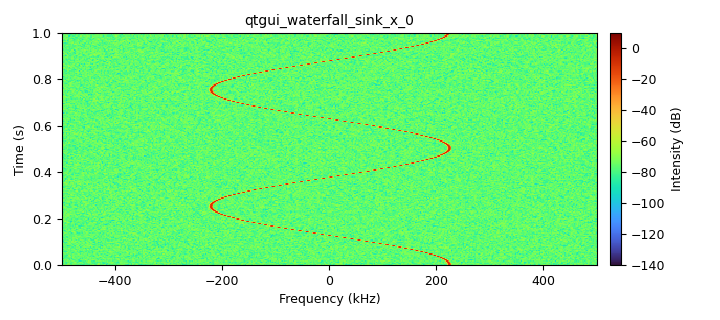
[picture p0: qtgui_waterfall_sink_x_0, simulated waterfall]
options:
  parameters:
    author: J. A. Gilbert
    copyright: J. A. Gilbert
    description: Simple sink examples of using SigMF with GNU Radio
    generate_options: qt_gui
    id: basic_sigmf_gnuradio
    output_language: python
    title: SigMF Examples with GNU Radio
  states: {}

blocks:
- name: freq
  id: variable
  parameters:
    value: 1e9
  states: {}
- name: samp_rate
  id: variable
  parameters:
    value: 1e6
  states: {}
- name: analog_frequency_modulator_fc_0
  id: analog_frequency_modulator_fc
  parameters:
    sensitivity: '1.4'
  states: {}
- name: analog_noise_source_x_0
  id: analog_noise_source_x
  parameters:
    amp: '0.01'
    noise_type: analog.GR_GAUSSIAN
    seed: '0'
    type: complex
  states: {}
- name: analog_sig_source_x_0
  id: analog_sig_source_x
  parameters:
    amp: '1'
    freq: '2'
    offset: '0'
    phase: '0'
    samp_rate: samp_rate
    type: float
    waveform: analog.GR_COS_WAVE
  states: {}
- name: blocks_add_xx_0
  id: blocks_add_xx
  parameters:
    type: complex
  states: {}
- name: blocks_head_0
  id: blocks_head
  parameters:
    num_items: int(samp_rate*2)
    type: complex
  states: {}
- name: blocks_sigmf_sink_minimal_0
  id: blocks_sigmf_sink_minimal
  parameters:
    author: J. Gilbert
    center_freq: freq
    description: Sinusoidal Chirp
    filename: test
    hw_info: Synthetic
    sample_rate: samp_rate
    type: complex float (fc32_le)
  states: {}
- name: blocks_throttle_0
  id: blocks_throttle
  parameters:
    samples_per_second: samp_rate
    type: complex
  states: {}
- name: qtgui_waterfall_sink_x_0
  id: qtgui_waterfall_sink_x
  parameters:
    bw: samp_rate
    fc: '0'
    fftsize: '1024'
    type: complex
    update_time: '0.005'
  states: {}
- name: sigmf_file
  id: parameter
  parameters:
    label: sigmf_file
    short_id: f
    type: str
    value: /Users/jacob/dect6
  states: {}

connections:
- [analog_frequency_modulator_fc_0, '0', blocks_add_xx_0, '1']
- [analog_noise_source_x_0, '0', blocks_throttle_0, '0']
- [analog_sig_source_x_0, '0', analog_frequency_modulator_fc_0, '0']
- [blocks_add_xx_0, '0', blocks_head_0, '0']
- [blocks_add_xx_0, '0', qtgui_waterfall_sink_x_0, '0']
- [blocks_head_0, '0', blocks_sigmf_sink_minimal_0, '0']
- [blocks_throttle_0, '0', blocks_add_xx_0, '0']

metadata:
  file_format: 1
  grc_version: 3.10.4.0
